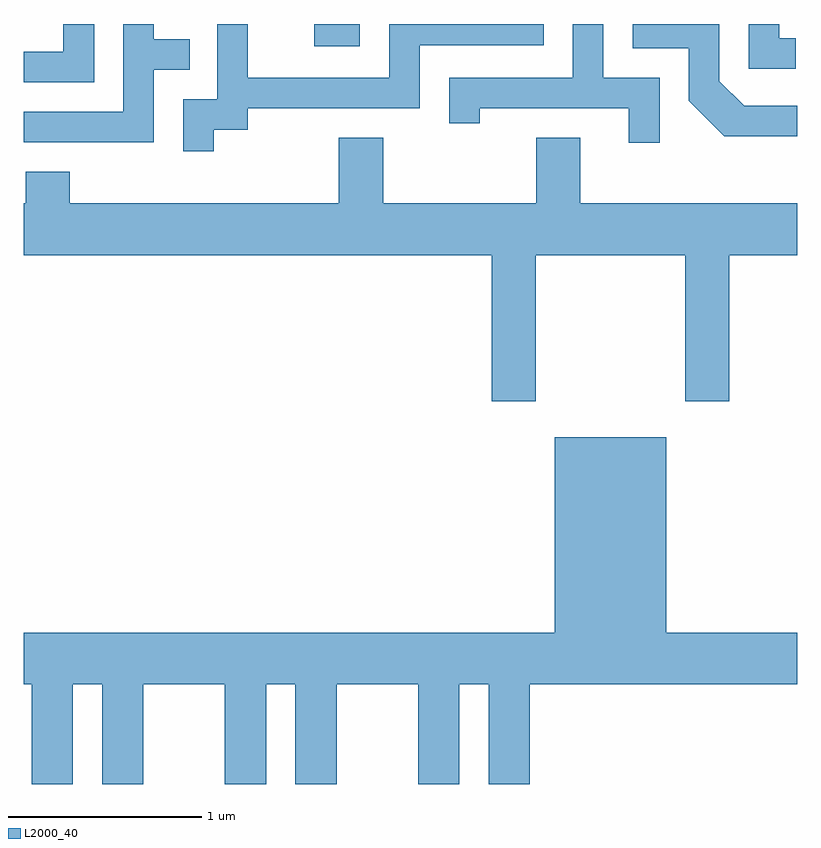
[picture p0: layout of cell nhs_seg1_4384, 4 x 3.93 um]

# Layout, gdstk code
import gdstk
lib = gdstk.Library(unit=1e-6, precision=1e-09)
def R(c, l, rs):  # rectangles x0, y0, x1, y1
    for r in rs: c.add(gdstk.rectangle(r[:2], r[2:], *l))
def P(c, l, *ps):  # polygons
    for p in ps: c.add(gdstk.Polygon(p, *l))
L2000_40 = (2000, 40)

nhs_seg1_4384 = lib.new_cell('nhs_seg1_4384')
R(nhs_seg1_4384, L2000_40, [(319.113,849.596,319.349,849.712)])
P(nhs_seg1_4384, L2000_40, [(317.974,849.712),(317.816,849.712),(317.816,849.569),(317.611,849.569),(317.611,849.411),(317.974,849.411)],
  [(318.594,849.166),(318.769,849.166),(318.769,849.276),(319.659,849.276),(319.659,849.601),(320.299,849.601),(320.299,849.712),(319.501,849.712),(319.501,849.434),(318.769,849.434),(318.769,849.712),(318.611,849.712),(318.611,849.324),(318.436,849.324),(318.436,849.053),(318.594,849.053)],
  [(321.611,849.289),(321.337,849.289),(321.209,849.417),(321.209,849.712),(320.761,849.712),(320.761,849.586),(321.051,849.586),(321.051,849.314),(321.234,849.131),(321.611,849.131)],
  [(320.899,849.434),(320.609,849.434),(320.609,849.712),(320.451,849.712),(320.451,849.434),(319.811,849.434),(319.811,849.198),(319.969,849.198),(319.969,849.276),(320.741,849.276),(320.741,849.098),(320.899,849.098)],
  [(321.603,849.639),(321.519,849.639),(321.519,849.712),(321.361,849.712),(321.361,849.481),(321.603,849.481)],
  [(318.284,849.476),(318.468,849.476),(318.468,849.634),(318.284,849.634),(318.284,849.712),(318.126,849.712),(318.126,849.259),(317.611,849.259),(317.611,849.101),(318.284,849.101)],
  [(317.621,848.949),(317.621,848.784),(317.611,848.784),(317.611,848.516),(320.031,848.516),(320.031,847.761),(320.259,847.761),(320.259,848.516),(321.031,848.516),(321.031,847.761),(321.259,847.761),(321.259,848.516),(321.611,848.516),(321.611,848.784),(320.489,848.784),(320.489,849.124),(320.261,849.124),(320.261,848.784),(319.469,848.784),(319.469,849.124),(319.241,849.124),(319.241,848.784),(317.849,848.784),(317.849,848.949)],
  [(317.864,846.296),(318.016,846.296),(318.016,845.781),(318.229,845.781),(318.229,846.296),(318.651,846.296),(318.651,845.781),(318.864,845.781),(318.864,846.296),(319.016,846.296),(319.016,845.781),(319.229,845.781),(319.229,846.296),(319.651,846.296),(319.651,845.781),(319.864,845.781),(319.864,846.296),(320.016,846.296),(320.016,845.781),(320.229,845.781),(320.229,846.296),(321.611,846.296),(321.611,846.564),(320.934,846.564),(320.934,847.574),(320.356,847.574),(320.356,846.564),(317.611,846.564),(317.611,846.296),(317.651,846.296),(317.651,845.781),(317.864,845.781)])

lib.write_gds('nhs_seg1_4384.gds')
